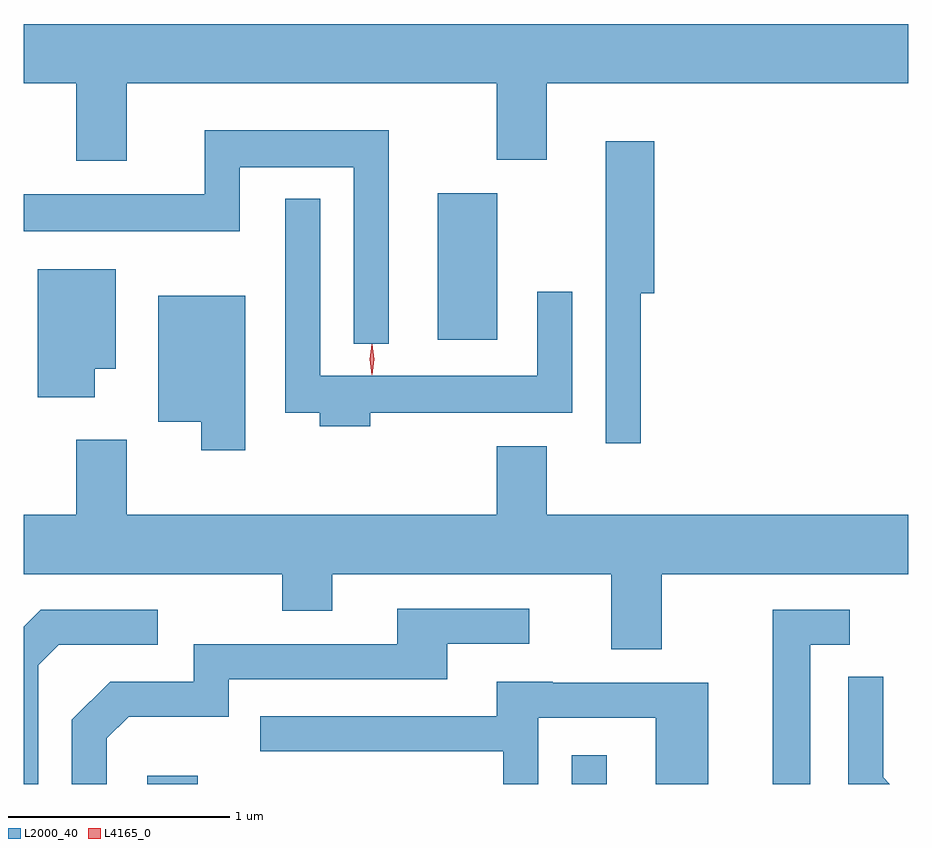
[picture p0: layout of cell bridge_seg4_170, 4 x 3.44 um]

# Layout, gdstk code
import gdstk
lib = gdstk.Library(unit=1e-6, precision=1e-09)
def R(c, l, rs):  # rectangles x0, y0, x1, y1
    for r in rs: c.add(gdstk.rectangle(r[:2], r[2:], *l))
def P(c, l, *ps):  # polygons
    for p in ps: c.add(gdstk.Polygon(p, *l))
L2000_40 = (2000, 40)
L4165_0 = (4165, 0)

bridge_seg4_170 = lib.new_cell('bridge_seg4_170')
R(bridge_seg4_170, L2000_40, [(869.581,1271.587,869.809,1271.624), (871.501,1271.587,871.659,1271.718), (870.896,1273.596,871.164,1274.259)])
P(bridge_seg4_170, L2000_40, [(869.489,1274.756),(871.161,1274.756),(871.161,1274.411),(871.389,1274.411),(871.389,1274.756),(873.023,1274.756),(873.023,1275.024),(869.023,1275.024),(869.023,1274.756),(869.261,1274.756),(869.261,1274.406),(869.489,1274.406)],
  [(870.674,1274.544),(869.841,1274.544),(869.841,1274.254),(869.023,1274.254),(869.023,1274.086),(869.999,1274.086),(869.999,1274.376),(870.516,1274.376),(870.516,1273.578),(870.674,1273.578)],
  [(871.814,1273.806),(871.874,1273.806),(871.874,1274.494),(871.656,1274.494),(871.656,1273.128),(871.814,1273.128)],
  [(870.589,1273.266),(871.504,1273.266),(871.504,1273.813),(871.346,1273.813),(871.346,1273.434),(870.364,1273.434),(870.364,1274.233),(870.206,1274.233),(870.206,1273.266),(870.361,1273.266),(870.361,1273.206),(870.589,1273.206)],
  [(869.344,1273.466),(869.439,1273.466),(869.439,1273.914),(869.086,1273.914),(869.086,1273.336),(869.344,1273.336)],
  [(870.024,1273.794),(869.631,1273.794),(869.631,1273.226),(869.826,1273.226),(869.826,1273.096),(870.024,1273.096)],
  [(871.909,1272.536),(873.023,1272.536),(873.023,1272.804),(871.389,1272.804),(871.389,1273.114),(871.161,1273.114),(871.161,1272.804),(869.489,1272.804),(869.489,1273.144),(869.261,1273.144),(869.261,1272.804),(869.023,1272.804),(869.023,1272.536),(870.191,1272.536),(870.191,1272.371),(870.419,1272.371),(870.419,1272.536),(871.681,1272.536),(871.681,1272.196),(871.909,1272.196)],
  [(869.399,1271.794),(869.497,1271.891),(869.949,1271.891),(869.949,1272.061),(870.939,1272.061),(870.939,1272.221),(871.308,1272.221),(871.308,1272.379),(870.711,1272.379),(870.711,1272.219),(869.791,1272.219),(869.791,1272.049),(869.414,1272.049),(869.241,1271.877),(869.241,1271.587),(869.399,1271.587)],
  [(869.089,1272.124),(869.182,1272.216),(869.628,1272.216),(869.628,1272.374),(869.099,1272.374),(869.023,1272.298),(869.023,1271.587),(869.089,1271.587)],
  [(872.579,1272.216),(872.758,1272.216),(872.758,1272.374),(872.411,1272.374),(872.411,1271.587),(872.579,1271.587)],
  [(872.909,1271.617),(872.909,1272.073),(872.751,1272.073),(872.751,1271.587),(872.939,1271.587)],
  [(871.349,1271.886),(871.881,1271.886),(871.881,1271.587),(872.119,1271.587),(872.119,1272.044),(871.415,1272.044),(871.415,1272.049),(871.161,1272.049),(871.161,1271.894),(870.093,1271.894),(870.093,1271.736),(871.191,1271.736),(871.191,1271.587),(871.349,1271.587)])
P(bridge_seg4_170, L4165_0, [(870.597,1273.437),(870.597,1273.437),(870.587,1273.507),(870.597,1273.576),(870.597,1273.576),(870.598,1273.576),(870.607,1273.507),(870.598,1273.437)])

lib.write_gds('bridge_seg4_170.gds')
